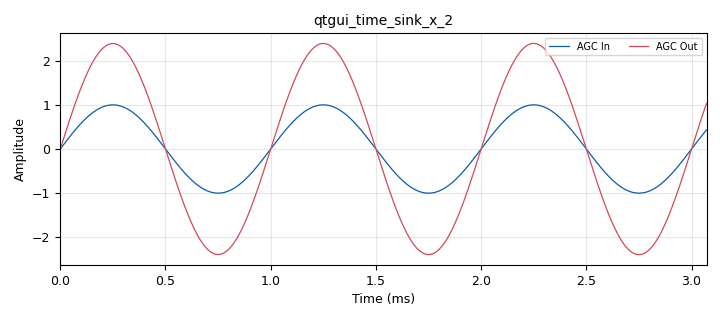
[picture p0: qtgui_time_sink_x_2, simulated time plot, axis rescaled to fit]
options:
  parameters:
    author: Francisco Nicolás Pérez Fernández
    generate_options: qt_gui
    id: automaticGainControlTest
    output_language: python
    title: AGC Test
  states: {}

blocks:
- name: agcGain
  id: variable_qtgui_range
  parameters:
    label: AGC Initial Gain
    orient: Qt.Horizontal
    start: '0'
    step: '0.01'
    stop: '10'
    value: '2'
  states: {}
- name: agcMaxGain
  id: variable_qtgui_range
  parameters:
    label: AGC Max gain
    orient: Qt.Horizontal
    start: '1'
    step: '0.01'
    stop: '10'
    value: '8'
  states: {}
- name: agcRef
  id: variable_qtgui_range
  parameters:
    label: AGC Reference gain
    orient: Qt.Horizontal
    start: '0'
    step: '0.001'
    stop: '10'
    value: '2'
  states: {}
- name: agcTime
  id: variable_qtgui_range
  parameters:
    label: AGC Time in samples
    orient: Qt.Horizontal
    start: '1'
    step: '1'
    stop: 1e6
    value: '300000'
  states: {}
- name: amplitude
  id: variable_qtgui_range
  parameters:
    label: Source Amplitude
    orient: Qt.Horizontal
    start: '0.001'
    step: '0.001'
    stop: '10'
    value: '1'
  states: {}
- name: normalization_constant
  id: variable
  parameters:
    value: '1.57'
  states: {}
- name: samp_rate
  id: variable
  parameters:
    value: 1e6
  states: {}
- name: source_freq
  id: variable
  parameters:
    value: 1e3
  states: {}
- name: analog_agc_xx_0_0_0
  id: analog_agc_xx
  parameters:
    gain: agcGain
    max_gain: agcMaxGain
    rate: 1/agcTime
    reference: agcRef
    type: float
  states: {}
- name: analog_sig_source_x_0_0
  id: analog_sig_source_x
  parameters:
    amp: amplitude
    freq: source_freq
    offset: '0'
    phase: '0'
    samp_rate: samp_rate
    type: float
    waveform: analog.GR_SIN_WAVE
  states: {}
- name: blocks_abs_xx_0
  id: blocks_abs_xx
  parameters:
    type: float
  states: {}
- name: blocks_abs_xx_0_0
  id: blocks_abs_xx
  parameters:
    type: float
  states: {}
- name: blocks_divide_xx_0
  id: blocks_divide_xx
  parameters:
    type: float
  states: {}
- name: blocks_moving_average_xx_0
  id: blocks_moving_average_xx
  parameters:
    alias: AGC In
    length: int(samp_rate/source_freq)
    max_iter: '4000'
    scale: source_freq/samp_rate
    type: float
  states: {}
- name: blocks_moving_average_xx_0_0
  id: blocks_moving_average_xx
  parameters:
    alias: AGC Out
    length: int(samp_rate/source_freq)
    max_iter: '4000'
    scale: source_freq/samp_rate
    type: float
  states: {}
- name: blocks_multiply_const_xx_0
  id: blocks_multiply_const_xx
  parameters:
    const: normalization_constant
    type: float
  states: {}
- name: blocks_multiply_const_xx_0_0
  id: blocks_multiply_const_xx
  parameters:
    const: normalization_constant
    type: float
  states: {}
- name: blocks_throttle_0
  id: blocks_throttle
  parameters:
    samples_per_second: samp_rate
    type: float
  states: {}
- name: qtgui_number_sink_0
  id: qtgui_number_sink
  parameters:
    alias: AGC Input Amplitude
    comment: AGC Input Amplitude
    graph_type: qtgui.NUM_GRAPH_HORIZ
    label1: AGC Input Amplitude
    max: '10'
    min: '0'
    type: float
    update_time: '0.001'
  states: {}
- name: qtgui_number_sink_0_0
  id: qtgui_number_sink
  parameters:
    alias: AGC Output Amplitude
    comment: AGC Output Amplitude
    graph_type: qtgui.NUM_GRAPH_HORIZ
    label1: AGC Output Amplitude
    max: '10'
    min: '0'
    type: float
    update_time: '0.001'
  states: {}
- name: qtgui_number_sink_0_0_0
  id: qtgui_number_sink
  parameters:
    alias: AGC Gain
    comment: AGC Gain
    graph_type: qtgui.NUM_GRAPH_HORIZ
    label1: AGC Gain
    max: '10'
    min: '0'
    type: float
    update_time: '0.001'
  states: {}
- name: qtgui_time_sink_x_2
  id: qtgui_time_sink_x
  parameters:
    ctrlpanel: 'True'
    grid: 'True'
    label1: AGC In
    label2: AGC Out
    nconnections: '2'
    size: 1024*3
    srate: samp_rate
    tr_chan: '1'
    tr_mode: qtgui.TRIG_MODE_AUTO
    type: float
    update_time: '0.001'
    ymax: '-10'
    ymin: '10'
  states: {}

connections:
- [analog_agc_xx_0_0_0, '0', blocks_abs_xx_0_0, '0']
- [analog_agc_xx_0_0_0, '0', qtgui_time_sink_x_2, '1']
- [analog_sig_source_x_0_0, '0', blocks_throttle_0, '0']
- [blocks_abs_xx_0, '0', blocks_moving_average_xx_0, '0']
- [blocks_abs_xx_0_0, '0', blocks_moving_average_xx_0_0, '0']
- [blocks_divide_xx_0, '0', qtgui_number_sink_0_0_0, '0']
- [blocks_moving_average_xx_0, '0', blocks_divide_xx_0, '1']
- [blocks_moving_average_xx_0, '0', blocks_multiply_const_xx_0_0, '0']
- [blocks_moving_average_xx_0_0, '0', blocks_divide_xx_0, '0']
- [blocks_moving_average_xx_0_0, '0', blocks_multiply_const_xx_0, '0']
- [blocks_multiply_const_xx_0, '0', qtgui_number_sink_0_0, '0']
- [blocks_multiply_const_xx_0_0, '0', qtgui_number_sink_0, '0']
- [blocks_throttle_0, '0', analog_agc_xx_0_0_0, '0']
- [blocks_throttle_0, '0', blocks_abs_xx_0, '0']
- [blocks_throttle_0, '0', qtgui_time_sink_x_2, '0']

metadata:
  file_format: 1
